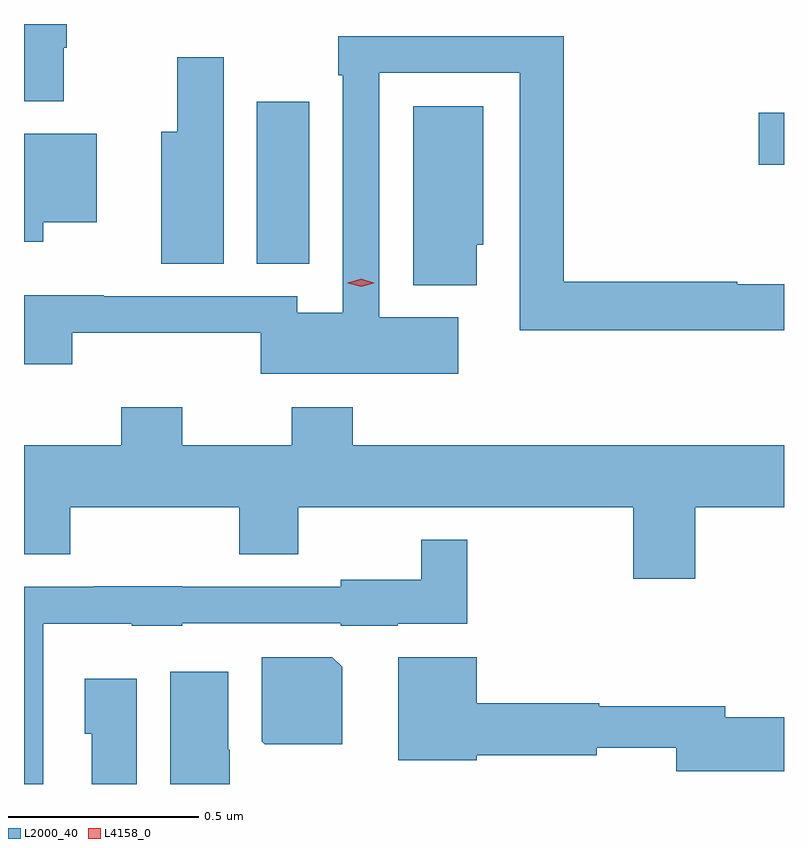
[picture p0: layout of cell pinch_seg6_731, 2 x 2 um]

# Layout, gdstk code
import gdstk
lib = gdstk.Library(unit=1e-6, precision=1e-09)
def R(c, l, rs):  # rectangles x0, y0, x1, y1
    for r in rs: c.add(gdstk.rectangle(r[:2], r[2:], *l))
def P(c, l, *ps):  # polygons
    for p in ps: c.add(gdstk.Polygon(p, *l))
L2000_40 = (2000, 40)
L4158_0 = (4158, 0)

pinch_seg6_731 = lib.new_cell('pinch_seg6_731')
R(pinch_seg6_731, L2000_40, [(379.802,942.649,379.939,943.075), (381.123,942.91,381.189,943.047)])
P(pinch_seg6_731, L2000_40, [(379.294,943.217),(379.301,943.217),(379.301,943.28),(379.189,943.28),(379.189,943.077),(379.294,943.077)],
  [(380.332,942.508),(380.124,942.508),(380.124,943.152),(380.493,943.152),(380.493,942.474),(381.189,942.474),(381.189,942.595),(381.066,942.595),(381.066,942.602),(380.609,942.602),(380.609,943.248),(380.016,943.248),(380.016,943.145),(380.028,943.145),(380.028,942.52),(379.908,942.52),(379.908,942.564),(379.399,942.564),(379.399,942.566),(379.189,942.566),(379.189,942.384),(379.316,942.384),(379.316,942.467),(379.812,942.467),(379.812,942.359),(380.332,942.359)],
  [(379.714,943.192),(379.592,943.192),(379.592,942.997),(379.55,942.997),(379.55,942.649),(379.714,942.649)],
  [(380.38,942.699),(380.398,942.699),(380.398,943.063),(380.213,943.063),(380.213,942.593),(380.38,942.593)],
  [(379.239,942.758),(379.381,942.758),(379.381,942.991),(379.189,942.991),(379.189,942.707),(379.239,942.707)],
  [(380.956,942.008),(381.189,942.008),(381.189,942.172),(380.054,942.172),(380.054,942.271),(379.894,942.271),(379.894,942.172),(379.605,942.172),(379.605,942.271),(379.445,942.271),(379.445,942.172),(379.189,942.172),(379.189,941.884),(379.311,941.884),(379.311,942.008),(379.756,942.008),(379.756,941.884),(379.911,941.884),(379.911,942.008),(380.792,942.008),(380.792,941.82),(380.956,941.82)],
  [(379.239,941.702),(379.473,941.702),(379.473,941.696),(379.605,941.696),(379.605,941.703),(380.022,941.703),(380.022,941.696),(380.172,941.696),(380.172,941.702),(380.356,941.702),(380.356,941.923),(380.235,941.923),(380.235,941.818),(380.022,941.818),(380.022,941.799),(379.605,941.799),(379.605,941.801),(379.373,941.801),(379.373,941.799),(379.189,941.799),(379.189,941.28),(379.239,941.28)],
  [(381.189,941.456),(381.034,941.456),(381.034,941.485),(380.703,941.485),(380.703,941.492),(380.38,941.492),(380.38,941.614),(380.174,941.614),(380.174,941.342),(380.38,941.342),(380.38,941.356),(380.696,941.356),(380.696,941.375),(380.906,941.375),(380.906,941.314),(381.189,941.314)],
  [(380.026,941.588),(380,941.614),(379.814,941.614),(379.814,941.392),(379.822,941.384),(380.026,941.384)],
  [(379.73,941.37),(379.726,941.37),(379.726,941.575),(379.574,941.575),(379.574,941.28),(379.73,941.28)],
  [(379.486,941.557),(379.349,941.557),(379.349,941.412),(379.367,941.412),(379.367,941.28),(379.486,941.28)])
P(pinch_seg6_731, L4158_0, [(380.076,942.589),(380.041,942.598),(380.041,942.599),(380.041,942.599),(380.076,942.609),(380.11,942.599),(380.11,942.599),(380.11,942.598)])

lib.write_gds('pinch_seg6_731.gds')
